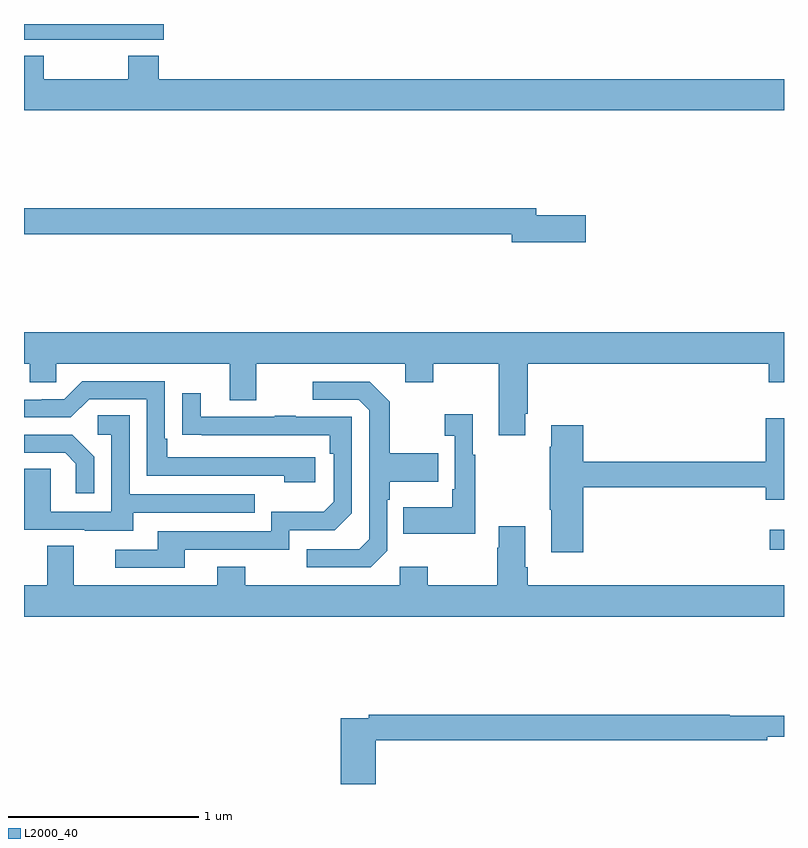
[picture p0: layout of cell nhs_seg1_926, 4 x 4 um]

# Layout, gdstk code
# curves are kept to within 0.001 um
import gdstk
lib = gdstk.Library(unit=1e-6, precision=1e-09)
def R(c, l, rs):  # rectangles x0, y0, x1, y1
    for r in rs: c.add(gdstk.rectangle(r[:2], r[2:], *l))
def P(c, l, *ps):  # polygons
    for p in ps: c.add(gdstk.Polygon(p, *l))
L2000_40 = (2000, 40)

nhs_seg1_926 = lib.new_cell('nhs_seg1_926')
R(nhs_seg1_926, L2000_40, [(164.925,537.431,165,537.538)])
P(nhs_seg1_926, L2000_40, [(161.485,540.117),(161.735,540.117),(161.735,540.199),(161,540.199),(161,540.117),(161.253,540.117),(161.253,540.116),(161.485,540.116)],
  [(165,539.908),(161.708,539.908),(161.708,540.032),(161.548,540.032),(161.548,539.908),(161.103,539.908),(161.103,540.032),(161,540.032),(161,539.744),(165,539.744)],
  [(163.957,539.192),(163.696,539.192),(163.696,539.228),(161,539.228),(161,539.092),(163.568,539.092),(163.568,539.05),(163.957,539.05)],
  [(163.639,538.147),(163.652,538.147),(163.652,538.412),(164.921,538.412),(164.921,538.313),(165,538.313),(165,538.576),(161,538.576),(161,538.412),(161.031,538.412),(161.031,538.314),(161.169,538.314),(161.169,538.412),(162.083,538.412),(162.083,538.218),(162.223,538.218),(162.223,538.412),(163.007,538.412),(163.007,538.313),(163.155,538.313),(163.155,538.412),(163.499,538.412),(163.499,538.035),(163.639,538.035)],
  [(162.532,537.918),(161.755,537.918),(161.755,538.015),(161.742,538.015),(161.742,538.32),(161.307,538.32),(161.211,538.224),(161.093,538.224),(161.093,538.221),(161,538.221),(161,538.128),(161.247,538.128),(161.343,538.224),(161.646,538.224),(161.646,537.822),(162.371,537.822),(162.371,537.788),(162.532,537.788)],
  [(162.912,537.426),(162.912,537.695),(162.925,537.695),(162.925,537.791),(163.181,537.791),(163.181,537.939),(162.925,537.939),(162.925,538.211),(162.819,538.317),(162.519,538.317),(162.519,538.221),(162.762,538.221),(162.816,538.167),(162.816,537.486),(162.765,537.435),(162.489,537.435),(162.489,537.339),(162.825,537.339)],
  [(161.845,537.432),(162.396,537.432),(162.396,537.534),(162.636,537.534),(162.726,537.624),(162.726,538.131),(162.431,538.131),(162.431,538.136),(162.319,538.136),(162.319,538.131),(161.929,538.131),(161.929,538.255),(161.833,538.255),(161.833,538.036),(162.61,538.035),(162.61,537.938),(162.63,537.938),(162.63,537.684),(162.577,537.631),(162.3,537.631),(162.3,537.528),(161.705,537.528),(161.705,537.432),(161.481,537.432),(161.481,537.336),(161.845,537.336)],
  [(163.375,537.931),(163.363,537.931),(163.363,538.144),(163.215,538.144),(163.215,538.031),(163.266,538.031),(163.266,537.751),(163.254,537.751),(163.254,537.655),(162.997,537.655),(162.997,537.515),(163.375,537.515)],
  [(161.575,537.627),(162.215,537.627),(162.215,537.723),(161.556,537.723),(161.556,538.139),(161.388,538.139),(161.388,538.038),(161.46,538.038),(161.46,537.633),(161.142,537.633),(161.142,537.857),(161,537.857),(161,537.537),(161.321,537.537),(161.321,537.533),(161.575,537.533)],
  [(163.943,537.76),(164.903,537.76),(164.903,537.696),(165,537.696),(165,538.123),(164.903,538.123),(164.903,537.896),(163.943,537.896),(163.943,538.087),(163.775,538.087),(163.775,537.974),(163.768,537.974),(163.768,537.643),(163.775,537.643),(163.775,537.42),(163.943,537.42)],
  [(161.37,537.922),(161.254,538.038),(161,538.038),(161,537.942),(161.216,537.942),(161.273,537.885),(161.273,537.729),(161.37,537.729)],
  [(165,537.244),(163.652,537.244),(163.652,537.34),(163.639,537.34),(163.639,537.556),(163.499,537.556),(163.499,537.443),(163.492,537.443),(163.492,537.244),(163.125,537.244),(163.125,537.343),(162.978,537.343),(162.978,537.244),(162.165,537.244),(162.165,537.343),(162.017,537.343),(162.017,537.244),(161.263,537.244),(161.263,537.452),(161.123,537.452),(161.123,537.244),(161,537.244),(161,537.08),(165,537.08)],
  [(162.851,536.428),(164.912,536.428),(164.912,536.447),(165,536.447),(165,536.557),(164.714,536.557),(164.714,536.564),(162.814,536.564),(162.814,536.544),(162.668,536.544),(162.668,536.199),(162.851,536.199)])

lib.write_gds('nhs_seg1_926.gds')
